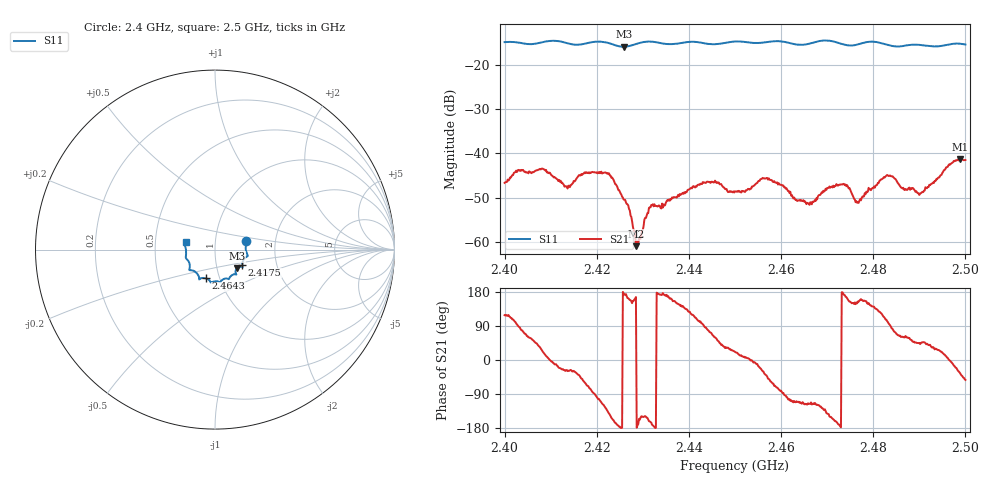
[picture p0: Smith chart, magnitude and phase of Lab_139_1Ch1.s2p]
# Hz S RI R 50
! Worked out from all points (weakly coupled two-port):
!   601 points, 2.4 GHz to 2.5 GHz, reference 50 ohm
!   highest |S21| = -41.31 dB at 2.4988 GHz (marker M1); lowest = -61.0 dB at 2.4285 GHz (marker M2)
!   lowest |S11| = -15.9 dB at 2.4258 GHz (marker M3), VSWR 1.38, Z = 62.3 - j13.3 ohm
!   |S11| at or under -10 dB: start of sweep to end of sweep
!   S12 and S22 are empty: the file has one direction only
!   S11 on the Smith chart (normalised r, x): 2.4 GHz: 1.41, +0.14; 2.4175 GHz: 1.34, -0.23; 2.4643 GHz: 0.86, -0.28; 2.5 GHz: 0.72, +0.06
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2.4e9  0.1734 0.0488  -0.00219 0.00408  0 0  0 0
2.403333e9  0.1744 0.0315  0.00052 0.0064  0 0  0 0
2.4085e9  0.1797 -0.0258  0.00625 0.00207  0 0  0 0
2.413667e9  0.169 -0.0449  0.00348 -0.00196  0 0  0 0
2.416667e9  0.1528 -0.0746  0.00383 -0.00439  0 0  0 0
2.4175e9  0.1519 -0.0839  0.00291 -0.00519  0 0  0 0
2.4225e9  0.1488 -0.0948  -0.00436 -0.00386  0 0  0 0
2.425833e9  0.1215 -0.1037  -0.00299 0.000241  0 0  0 0
2.4285e9  0.1147 -0.1277  -0.000866 0.000212  0 0  0 0
2.431667e9  0.1189 -0.1391  -0.00235 -0.000693  0 0  0 0
2.433333e9  0.1128 -0.1375  -0.00251 0.000223  0 0  0 0
2.4435e9  0.0664 -0.161  0.000326 0.00464  0 0  0 0
2.45e9  0.0287 -0.1811  0.00347 0.00136  0 0  0 0
2.4565e9  -0.0106 -0.1789  0.0041 -0.00316  0 0  0 0
2.464333e9  -0.0498 -0.1604  -0.00119 -0.0027  0 0  0 0
2.466667e9  -0.0758 -0.1591  -0.00121 -0.00235  0 0  0 0
2.473167e9  -0.0922 -0.1451  -0.00445 9.11e-05  0 0  0 0
2.476833e9  -0.1248 -0.1163  -0.00247 0.00121  0 0  0 0
2.483333e9  -0.1403 -0.0895  -0.000634 0.0055  0 0  0 0
2.490333e9  -0.1627 -0.0392  0.00253 0.00248  0 0  0 0
2.498833e9  -0.1692 0.0362  0.0071 -0.00485  0 0  0 0
2.5e9  -0.1638 0.0427  0.00511 -0.00666  0 0  0 0
